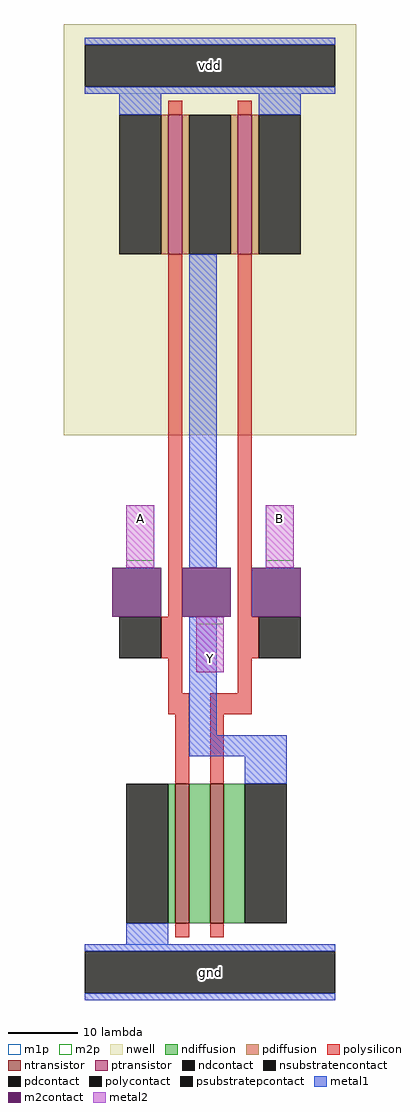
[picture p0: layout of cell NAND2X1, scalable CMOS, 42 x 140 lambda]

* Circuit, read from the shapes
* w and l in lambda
.subckt NAND2X1 A B Y vdd gnd
M1 n1 A gnd gnd nfet w=20 l=2
M2 Y B n1 gnd nfet w=20 l=2
M3 Y A vdd vdd pfet w=20 l=2
M4 vdd B Y vdd pfet w=20 l=2
.ends

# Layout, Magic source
magic
tech scmos
<< nwell >>
rect -6 77 36 136
<< ntransistor >>
rect 10 7 12 27
rect 15 7 17 27
<< ptransistor >>
rect 9 103 11 123
rect 19 103 21 123
<< ndiffusion >>
rect 9 7 10 27
rect 12 7 15 27
rect 17 7 20 27
<< pdiffusion >>
rect 8 103 9 123
rect 11 103 12 123
rect 18 103 19 123
rect 21 103 22 123
<< ndcontact >>
rect 3 7 9 27
rect 20 7 26 27
<< pdcontact >>
rect 2 103 8 123
rect 12 103 18 123
rect 22 103 28 123
<< psubstratepcontact >>
rect -3 -3 33 3
<< nsubstratencontact >>
rect -3 127 33 133
<< polysilicon >>
rect 9 123 11 125
rect 19 123 21 125
rect 9 51 11 103
rect 8 45 11 51
rect 9 40 11 45
rect 19 51 21 103
rect 19 45 22 51
rect 19 40 21 45
rect 9 37 12 40
rect 10 27 12 37
rect 15 37 21 40
rect 15 27 17 37
rect 10 5 12 7
rect 15 5 17 7
<< polycontact >>
rect 2 45 8 51
rect 22 45 28 51
<< metal1 >>
rect -3 133 33 134
rect -3 126 33 127
rect 2 123 8 126
rect 22 123 28 126
rect 12 58 16 103
rect 12 34 16 51
rect 12 31 26 34
rect 20 27 26 31
rect 3 4 9 7
rect -3 3 33 4
rect -3 -4 33 -3
<< m2contact >>
rect 1 51 8 58
rect 11 51 18 58
rect 21 51 28 58
<< metal2 >>
rect 3 58 7 67
rect 23 58 27 67
rect 13 43 17 51
<< m1p >>
rect -3 126 33 134
rect -3 -4 33 4
<< m2p >>
rect 3 59 7 67
rect 23 59 27 67
rect 13 43 17 50
<< labels >>
rlabel metal2 5 65 5 65 1 A
port 1 n signal input
rlabel metal2 25 65 25 65 1 B
port 2 n signal input
rlabel metal2 15 45 15 45 1 Y
port 3 n signal output
rlabel metal1 -3 126 33 134 0 vdd
port 4 nsew power bidirectional abutment
rlabel metal1 -3 -4 33 4 0 gnd
port 5 nsew ground bidirectional abutment
<< properties >>
string FIXED_BBOX 0 0 30 130
string LEFclass CORE
string LEFsite core
string LEFsymmetry X Y
<< end >>
